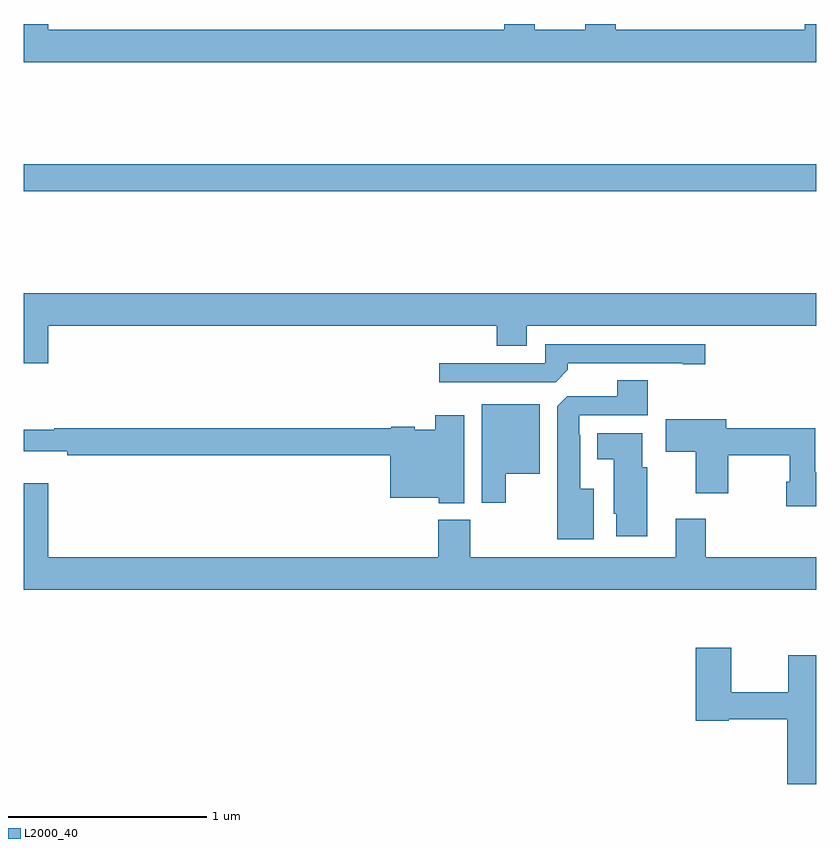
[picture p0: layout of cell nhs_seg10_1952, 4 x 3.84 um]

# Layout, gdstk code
import gdstk
lib = gdstk.Library(unit=1e-6, precision=1e-09)
def R(c, l, rs):  # rectangles x0, y0, x1, y1
    for r in rs: c.add(gdstk.rectangle(r[:2], r[2:], *l))
def P(c, l, *ps):  # polygons
    for p in ps: c.add(gdstk.Polygon(p, *l))
L2000_40 = (2000, 40)

nhs_seg10_1952 = lib.new_cell('nhs_seg10_1952')
R(nhs_seg10_1952, L2000_40, [(213,1307.656,217,1307.792)])
P(nhs_seg10_1952, L2000_40, [(217,1308.5),(216.941,1308.5),(216.941,1308.472),(215.987,1308.472),(215.987,1308.5),(215.834,1308.5),(215.834,1308.472),(215.578,1308.472),(215.578,1308.5),(215.426,1308.5),(215.426,1308.472),(213.124,1308.472),(213.124,1308.5),(213,1308.5),(213,1308.308),(217,1308.308)],
  [(213.124,1306.976),(215.387,1306.976),(215.387,1306.877),(215.539,1306.877),(215.539,1306.976),(217,1306.976),(217,1307.14),(213,1307.14),(213,1306.788),(213.124,1306.788)],
  [(215.747,1306.754),(215.747,1306.788),(216.326,1306.788),(216.326,1306.783),(216.439,1306.783),(216.439,1306.884),(215.631,1306.884),(215.631,1306.788),(215.097,1306.788),(215.097,1306.692),(215.685,1306.692)],
  [(215.878,1306.153),(215.809,1306.153),(215.809,1306.427),(215.805,1306.427),(215.805,1306.524),(216.149,1306.524),(216.149,1306.703),(215.996,1306.703),(215.996,1306.62),(215.742,1306.62),(215.693,1306.571),(215.693,1305.899),(215.878,1305.899)],
  [(215.434,1306.229),(215.605,1306.229),(215.605,1306.582),(215.312,1306.582),(215.312,1306.083),(215.434,1306.083)],
  [(215.224,1306.525),(215.078,1306.525),(215.078,1306.453),(214.974,1306.453),(214.974,1306.468),(214.854,1306.468),(214.854,1306.46),(213.154,1306.46),(213.154,1306.453),(213,1306.453),(213,1306.343),(213.22,1306.343),(213.22,1306.324),(214.85,1306.324),(214.85,1306.109),(215.094,1306.109),(215.094,1306.082),(215.224,1306.082)],
  [(217,1306.238),(216.995,1306.238),(216.995,1306.46),(216.547,1306.46),(216.547,1306.504),(216.24,1306.504),(216.24,1306.342),(216.392,1306.342),(216.392,1306.131),(216.555,1306.131),(216.555,1306.324),(216.867,1306.324),(216.867,1306.189),(216.848,1306.189),(216.848,1306.067),(217,1306.067)],
  [(216.148,1306.263),(216.121,1306.263),(216.121,1306.435),(215.894,1306.435),(215.894,1306.304),(215.978,1306.304),(215.978,1306.029),(215.99,1306.029),(215.99,1305.915),(216.148,1305.915)],
  [(217,1305.808),(216.443,1305.808),(216.443,1306.003),(216.29,1306.003),(216.29,1305.808),(215.253,1305.808),(215.253,1305.997),(215.093,1305.997),(215.093,1305.808),(213.124,1305.808),(213.124,1306.183),(213,1306.183),(213,1305.644),(217,1305.644)],
  [(217,1305.313),(216.859,1305.313),(216.859,1305.128),(216.57,1305.128),(216.57,1305.352),(216.392,1305.352),(216.392,1304.984),(216.558,1304.984),(216.558,1304.992),(216.854,1304.992),(216.854,1304.664),(217,1304.664)])

lib.write_gds('nhs_seg10_1952.gds')
